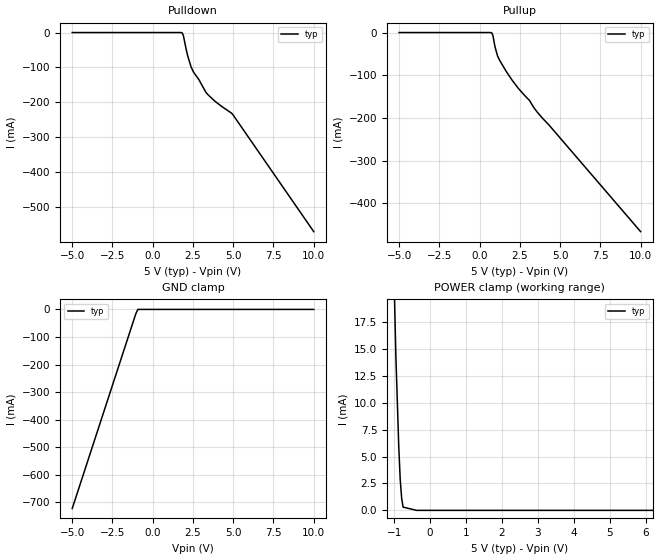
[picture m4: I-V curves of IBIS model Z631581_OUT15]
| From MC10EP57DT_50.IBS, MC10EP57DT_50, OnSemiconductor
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| (C) COPYRIGHT 1993-2000
| MENTOR GRAPHICS CORPORATION
| ICX STANDARD LIBRARY, ICX PROJECT MODELING,
| ICX CUSTOM MODELING, ICX VENDOR MODEL
| ALL RIGHTS RESERVED.
| THE FOLLOWING ARE TRADEMARKS OR SERVICE MARKS OF
| MENTOR GRAPHICS CORPORATION:ICX (R), ICX STANDARD
| LIBRARY(R), ICX PROJECT MODELING(R), ICX CUSTOM
| MODELING(R), qualityIBIS(TM), MODELVIEWER(TM),
| AND MODELEDITOR(TM)
| ALL COPIES OF SOFTWARE, INCLUDING BUT NOT LIMITED TO
| ANY MODIFICATIONS, ENHANCEMENTS OR DERIVATIVE WORKS,
| MUST CONTAIN ALL MENTOR GRAPHICS CORPORATION'S
| NOTICES AND LEGENDS, INCLUDING THOSE EMBEDDED IN
| SOFTWARE AND THOSE AFFIXED TO SOFTWARE MEDIUM
| AND CONTAINER, AS RECEIVED FROM MENTOR GRAPHICS
| CORPORATION.
| Model Application Version 1.89 2/18/99.
[Model] Z631581_OUT15
Model_type Output_ECL
Vref=3.000V
Rref=50.00ohms
Cref=0.000F
Vmeas=3.655V
C_comp 8.000pF NA NA
| variable typ   min   max
[Voltage Range] 5.000V NA NA
[POWER Clamp Reference] 5.000V NA NA
[Pullup Reference] 5.000V NA NA
[Pulldown Reference] 5.000V NA NA
[GND Clamp Reference] 0.000V NA NA
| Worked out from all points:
|   GND clamp passes 1 mA (typ) near -0.93 V on its own axis
|   POWER clamp passes 1 mA (typ) near -0.79 V on its own axis
[GND Clamp]
-5V       -722.6mA   NA         NA
-1.054V   -16.27mA   NA         NA
-922.3mV  0A         NA         NA
10V       0A         NA         NA
[Pulldown]
-5V       0A         NA         NA
1.818V    -900uA     NA         NA
1.899V    -7.9mA     NA         NA
2.081V    -48.9mA    NA         NA
2.183V    -68.5mA    NA         NA
2.385V    -98.7mA    NA         NA
2.527V    -112.7mA   NA         NA
2.872V    -135.2mA   NA         NA
3.277V    -169mA     NA         NA
3.885V    -197.4mA   NA         NA
4.96V     -233.8mA   NA         NA
10V       -569.8mA   NA         NA
[Pullup]
-5V       0A         NA         NA
647mV     0A         NA         NA
768mV     -1.6mA     NA         NA
830mV     -7.5mA     NA         NA
951mV     -32.6mA    NA         NA
1.113V    -54.7mA    NA         NA
1.66V     -91.4mA    NA         NA
2.025V    -111.8mA   NA         NA
2.411V    -130.8mA   NA         NA
3.1V      -159mA     NA         NA
3.566V    -185.6mA   NA         NA
10V       -465.9mA   NA         NA
[POWER Clamp]
-5V       717.2mA    NA         NA
-1.076V   32.1mA     NA         NA
-955mV    14.5mA     NA         NA
-873mV    5.9mA      NA         NA
-833mV    2.9mA      NA         NA
-792mV    1.1mA      NA         NA
-752mV    300uA      NA         NA
-376mV    0A         NA         NA
10V       0A         NA         NA
[Ramp]
| variable typ min max
dV/dt_r 290.6m/74.22p NA NA
dV/dt_f 290.6m/76.67p NA NA
R_load = 50.00Ohms
